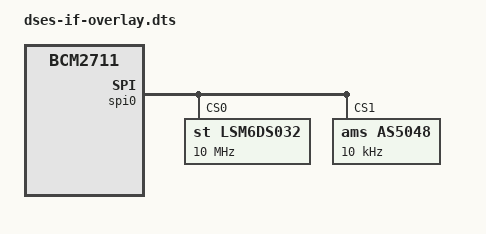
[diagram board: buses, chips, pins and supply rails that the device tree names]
/dts-v1/;
/plugin/;

/ {
    compatible = "brcm,bcm2711";

    fragment@0 {
		target = <&spidev0>;
		__overlay__ {
			status = "disabled";
		};
	};

	fragment@1 {
		target = <&spidev1>;
		__overlay__ {
			status = "disabled";
		};
	};

    fragment@2 {
        target = <&spi0>;
        __overlay__ {
            status = "okay";
            #address-cells = <1>;
			#size-cells = <0>;

            lsm6ds032: lsm6ds032@0 {
                compatible = "st,lsm6ds032";
                reg = <0>;	/* CE0 */
                #address-cells = <1>;
                #size-cells = <0>;
                spi-max-frequency = <10000000>;
            };

            as5048: as5048@1 {
                compatible = "ams,as5048";
                reg = <1>;	/* CE1 */
                #address-cells = <1>;
                #size-cells = <0>;
                spi-max-frequency = <10000>;
            };
        };
    };
};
